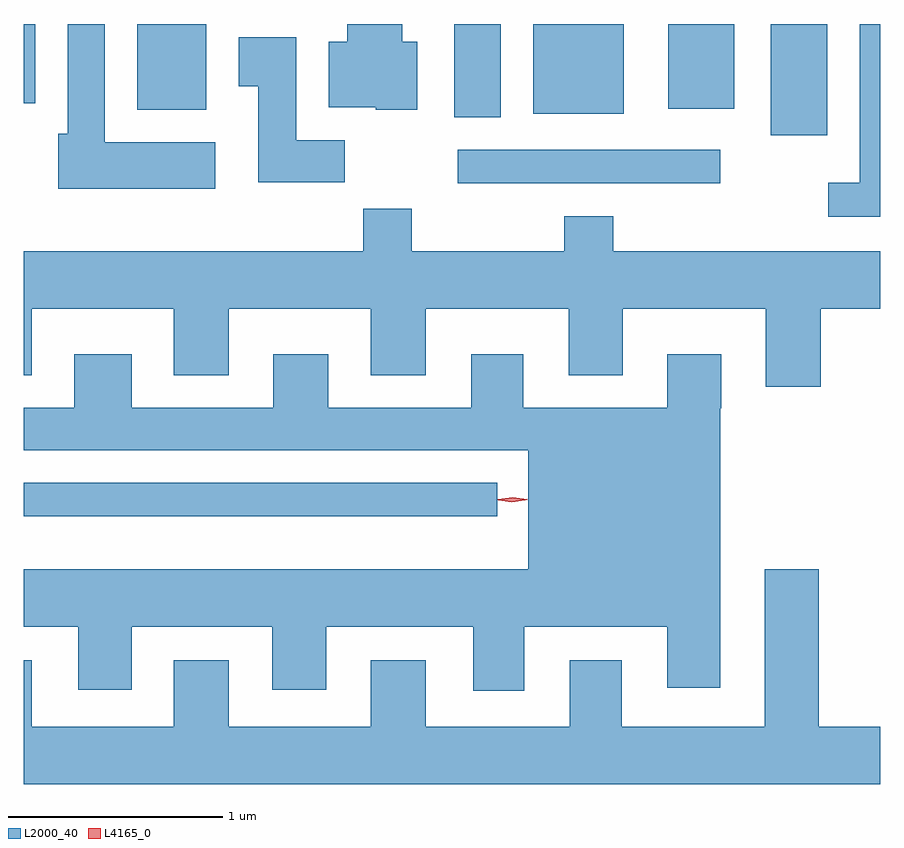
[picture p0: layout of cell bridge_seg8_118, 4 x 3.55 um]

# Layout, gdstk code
import gdstk
lib = gdstk.Library(unit=1e-6, precision=1e-09)
def R(c, l, rs):  # rectangles x0, y0, x1, y1
    for r in rs: c.add(gdstk.rectangle(r[:2], r[2:], *l))
def P(c, l, *ps):  # polygons
    for p in ps: c.add(gdstk.Polygon(p, *l))
L2000_40 = (2000, 40)
L4165_0 = (4165, 0)

bridge_seg8_118 = lib.new_cell('bridge_seg8_118')
R(bridge_seg8_118, L2000_40, [(1781.346,1857.646,1783.558,1857.804), (1783.373,1859.201,1784.598,1859.359), (1784.836,1859.426,1785.099,1859.946), (1783.356,1859.511,1783.574,1859.946), (1783.726,1859.526,1784.149,1859.946), (1781.876,1859.546,1782.199,1859.946), (1784.356,1859.551,1784.664,1859.946), (1781.346,1859.576,1781.399,1859.946)])
P(bridge_seg8_118, L2000_40, [(1782.239,1859.394),(1781.724,1859.394),(1781.724,1859.946),(1781.551,1859.946),(1781.551,1859.434),(1781.506,1859.434),(1781.506,1859.176),(1782.239,1859.176)],
  [(1783.184,1859.864),(1783.114,1859.864),(1783.114,1859.946),(1782.856,1859.946),(1782.856,1859.864),(1782.771,1859.864),(1782.771,1859.556),(1782.99,1859.556),(1782.99,1859.546),(1783.184,1859.546)],
  [(1785.346,1859.946),(1785.251,1859.946),(1785.251,1859.204),(1785.103,1859.204),(1785.103,1859.046),(1785.346,1859.046)],
  [(1782.844,1859.404),(1782.619,1859.404),(1782.619,1859.884),(1782.351,1859.884),(1782.351,1859.656),(1782.441,1859.656),(1782.441,1859.206),(1782.844,1859.206)],
  [(1781.346,1858.306),(1781.384,1858.306),(1781.384,1858.616),(1782.046,1858.616),(1782.046,1858.306),(1782.304,1858.306),(1782.304,1858.616),(1782.966,1858.616),(1782.966,1858.306),(1783.224,1858.306),(1783.224,1858.616),(1783.891,1858.616),(1783.891,1858.306),(1784.144,1858.306),(1784.144,1858.616),(1784.811,1858.616),(1784.811,1858.251),(1785.069,1858.251),(1785.069,1858.616),(1785.346,1858.616),(1785.346,1858.884),(1784.099,1858.884),(1784.099,1859.049),(1783.871,1859.049),(1783.871,1858.884),(1783.159,1858.884),(1783.159,1859.084),(1782.931,1859.084),(1782.931,1858.884),(1781.346,1858.884)],
  [(1783.684,1857.131),(1784.351,1857.131),(1784.351,1856.846),(1784.599,1856.846),(1784.599,1858.15),(1784.604,1858.15),(1784.604,1858.404),(1784.351,1858.404),(1784.351,1858.154),(1783.679,1858.154),(1783.679,1858.404),(1783.436,1858.404),(1783.436,1858.154),(1782.769,1858.154),(1782.769,1858.404),(1782.511,1858.404),(1782.511,1858.154),(1781.849,1858.154),(1781.849,1858.404),(1781.581,1858.404),(1781.581,1858.154),(1781.346,1858.154),(1781.346,1857.956),(1783.701,1857.956),(1783.701,1857.399),(1781.346,1857.399),(1781.346,1857.131),(1781.601,1857.131),(1781.601,1856.836),(1781.849,1856.836),(1781.849,1857.131),(1782.506,1857.131),(1782.506,1856.836),(1782.759,1856.836),(1782.759,1857.131),(1783.446,1857.131),(1783.446,1856.831),(1783.684,1856.831)],
  [(1785.346,1856.664),(1785.059,1856.664),(1785.059,1857.399),(1784.806,1857.399),(1784.806,1856.664),(1784.139,1856.664),(1784.139,1856.974),(1783.896,1856.974),(1783.896,1856.664),(1783.224,1856.664),(1783.224,1856.974),(1782.966,1856.974),(1782.966,1856.664),(1782.304,1856.664),(1782.304,1856.974),(1782.046,1856.974),(1782.046,1856.664),(1781.384,1856.664),(1781.384,1856.974),(1781.346,1856.974),(1781.346,1856.396),(1785.346,1856.396)])
P(bridge_seg8_118, L4165_0, [(1783.625,1857.712),(1783.563,1857.721),(1783.563,1857.722),(1783.563,1857.722),(1783.625,1857.732),(1783.687,1857.722),(1783.687,1857.722),(1783.687,1857.721)],
  [(1783.629,1857.715),(1783.56,1857.724),(1783.559,1857.725),(1783.56,1857.725),(1783.629,1857.735),(1783.697,1857.725),(1783.698,1857.725),(1783.697,1857.724)])

lib.write_gds('bridge_seg8_118.gds')
